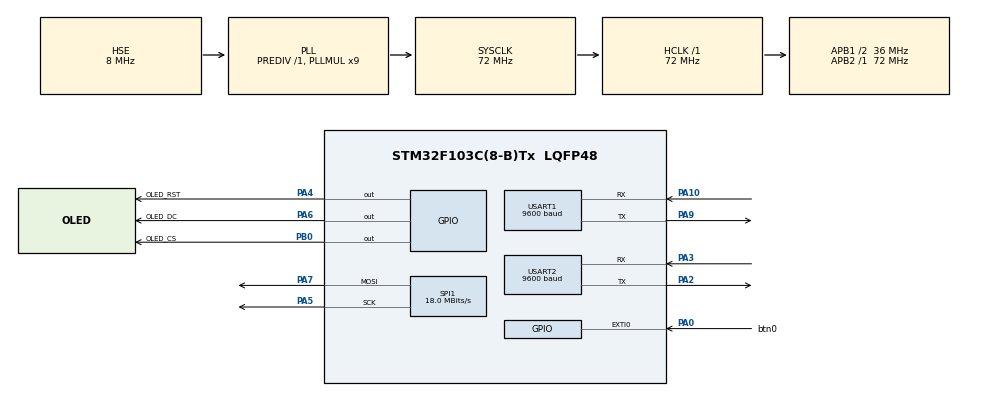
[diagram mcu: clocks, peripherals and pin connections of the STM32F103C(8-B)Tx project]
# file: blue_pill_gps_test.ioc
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Mcu.Family=STM32F1
Mcu.Name=STM32F103C(8-B)Tx
Mcu.Package=LQFP48
NVIC.EXTI0_IRQn=true\:0\:0\:false\:true\:true\:2\:true\:true\:true
NVIC.PriorityGroup=NVIC_PRIORITYGROUP_4
NVIC.USART2_IRQn=true\:0\:0\:false\:true\:true\:1\:true\:true\:true
PA0-WKUP.GPIO_Label=btn0
PA0-WKUP.GPIO_PuPd=GPIO_PULLUP
PA0-WKUP.Signal=GPXTI0
PA10.Mode=Asynchronous
PA10.Signal=USART1_RX
PA13.Mode=Serial_Wire
PA13.Signal=SYS_JTMS-SWDIO
PA14.Mode=Serial_Wire
PA14.Signal=SYS_JTCK-SWCLK
PA2.Mode=Asynchronous
PA2.Signal=USART2_TX
PA3.Mode=Asynchronous
PA3.Signal=USART2_RX
PA4.GPIO_Label=OLED_RST
PA4.GPIO_PuPd=GPIO_PULLUP
PA4.GPIO_Speed=GPIO_SPEED_FREQ_HIGH
PA4.PinState=GPIO_PIN_SET
PA4.Signal=GPIO_Output
PA5.Mode=TX_Only_Simplex_Unidirect_Master
PA5.Signal=SPI1_SCK
PA6.GPIO_Label=OLED_DC
PA6.GPIO_PuPd=GPIO_PULLUP
PA6.GPIO_Speed=GPIO_SPEED_FREQ_HIGH
PA6.PinState=GPIO_PIN_SET
PA6.Signal=GPIO_Output
PA7.Mode=TX_Only_Simplex_Unidirect_Master
PA7.Signal=SPI1_MOSI
PA9.Mode=Asynchronous
PA9.Signal=USART1_TX
PB0.GPIO_Label=OLED_CS
PB0.GPIO_PuPd=GPIO_PULLUP
PB0.GPIO_Speed=GPIO_SPEED_FREQ_HIGH
PB0.PinState=GPIO_PIN_SET
PB0.Signal=GPIO_Output
PD0-OSC_IN.Mode=HSE-External-Oscillator
PD0-OSC_IN.Signal=RCC_OSC_IN
PD1-OSC_OUT.Mode=HSE-External-Oscillator
PD1-OSC_OUT.Signal=RCC_OSC_OUT
ProjectManager.HeapSize=0x200
ProjectManager.StackSize=0x400
ProjectManager.TargetToolchain=STM32CubeIDE
RCC.AHBFreq_Value=72000000
RCC.APB1CLKDivider=RCC_HCLK_DIV2
RCC.APB1Freq_Value=36000000
RCC.APB1TimFreq_Value=72000000
RCC.APB2Freq_Value=72000000
RCC.APB2TimFreq_Value=72000000
RCC.HCLKFreq_Value=72000000
RCC.PLLMUL=RCC_PLL_MUL9
RCC.PLLSourceVirtual=RCC_PLLSOURCE_HSE
RCC.SYSCLKFreq_VALUE=72000000
RCC.SYSCLKSource=RCC_SYSCLKSOURCE_PLLCLK
RCC.USBFreq_Value=72000000
SPI1.BaudRatePrescaler=SPI_BAUDRATEPRESCALER_4
SPI1.CalculateBaudRate=18.0 MBits/s
SPI1.Direction=SPI_DIRECTION_2LINES
SPI1.Mode=SPI_MODE_MASTER
SPI1.VirtualType=VM_MASTER
USART1.BaudRate=9600
USART1.VirtualMode=VM_ASYNC
USART2.BaudRate=9600
USART2.VirtualMode=VM_ASYNC
board=custom

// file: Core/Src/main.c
/* USER CODE BEGIN Header */
/**
 ******************************************************************************
 * @file           : main.c
 * @brief          : Main program body
 ******************************************************************************
 * @attention
 *
 * Copyright (c) 2023 STMicroelectronics.
 * All rights reserved.
 *
 * This software is licensed under terms that can be found in the LICENSE file
 * in the root directory of this software component.
 * If no LICENSE file comes with this software, it is provided AS-IS.
 *
 ******************************************************************************
 */
/* USER CODE END Header */
#include "main.h"

/* USER CODE BEGIN Includes */
#include "stdio.h"
#include "stdlib.h"
#include "string.h"
#include "uart.h"
#include "u8g2.h"
#include "math.h"
#define pi 3.14159265358979323846

/* USER CODE END Includes */

SPI_HandleTypeDef hspi1;

UART_HandleTypeDef huart1;
UART_HandleTypeDef huart2;

/* USER CODE BEGIN PV */
extern ring_buffer_t uart_rx;

int btnFlag = 0;

/* USER CODE END PV */

void SystemClock_Config(void);
static void MX_GPIO_Init(void);
static void MX_USART1_UART_Init(void);
static void MX_USART2_UART_Init(void);
static void MX_SPI1_Init(void);
static void MX_NVIC_Init(void);

/* USER CODE BEGIN 0 */

int __io_putchar(int ch) {
	(void) HAL_UART_Transmit(&huart1, (uint8_t*) &ch, 1, 100);
	return ch;
}

double deg2rad(double deg) {
	return (deg * pi / 180);
}

double rad2deg(double rad) {
	return (rad * 180 / pi);
}

double calc_distance(double lat1, double lon1, double lat2, double lon2) {

	double radius = 6371.0;

	if ((lat1 == lat2) && (lon1 == lon2)) {
		return 0;
	} else {

		double dLat = deg2rad((lat2 - lat1)) / 2.0;
		double dLon = deg2rad((lon2 - lon1)) / 2.0;

		lat1 = deg2rad(lat1);
		lat2 = deg2rad(lat2);

		double a = sin(dLat) * sin(dLat)
				+ sin(dLon) * sin(dLon) * cos(lat1) * cos(lat2);
		double c = 2 * atan2f(sqrtf(a), sqrtf(1 - a));
		double dDistance = radius * c;

		dDistance *= 1000.0;

		return dDistance;
	}
	/*
	 double theta, dist;
	 if ((lat1 == lat2) && (lon1 == lon2)) {
	 return 0;
	 } else {
	 theta = lon1 - lon2;
	 dist = sin(deg2rad(lat1)) * sin(deg2rad(lat2))
	 + cos(deg2rad(lat1)) * cos(deg2rad(lat2)) * cos(deg2rad(theta));
	 dist = acos(dist);
	 dist = rad2deg(dist);
	 dist = dist * 60 * 1.1515;

	 dist = dist * 1.609344;
	 return (dist);
	 }
	 */

}

extern uint8_t u8x8_stm32_gpio_and_delay(u8x8_t *u8x8, uint8_t msg,
		uint8_t arg_int, void *arg_ptr);
extern uint8_t u8x8_byte_stm32_hw_spi(u8x8_t *u8x8, uint8_t msg,
		uint8_t arg_int, void *arg_ptr);

static u8g2_t u8g2;
/* USER CODE END 0 */

int main(void) {
	/* USER CODE BEGIN 1 */
	static double f_latitude1 = 0.0;
	static double f_longitude1 = 0.0;
	double f_latitude2 = 0.0;
	double f_longitude2 = 0.0;

	double distance = 0.0;
	static double pre_time = 0.0;
	double f_seconds = 0.0;
	double time_interval = 0.0;
	double speed = 0.0;
	double ground_speed = 0.0;

	char str_buff[32];
	char str_buff2[32];
	char str_buff3[32];
	char str_buff4[32];

	char buff[1024];
	char sentence[256];
	char type[16];
	char time[16];
	char valid[4];
	char latitude[16];
	char NS[4];
	char longitude[16];
	char EW[4];
	char groundSpeed[16];
	//char str8[18];
	/* USER CODE END 1 */

	/* MCU Configuration--------------------------------------------------------*/

	/* Reset of all peripherals, Initializes the Flash interface and the Systick. */
	HAL_Init();

	/* Configure the system clock */
	SystemClock_Config();

	/* Initialize all configured peripherals */
	MX_GPIO_Init();
	MX_USART1_UART_Init();
	MX_USART2_UART_Init();
	MX_SPI1_Init();

	/* Initialize interrupts */
	MX_NVIC_Init();
	/* USER CODE BEGIN 2 */
	u8g2_Setup_ssd1306_128x64_noname_f(&u8g2, U8G2_R0, u8x8_byte_stm32_hw_spi,
			u8x8_stm32_gpio_and_delay);

	u8g2_InitDisplay(&u8g2);
	u8g2_SetPowerSave(&u8g2, 0);

	//u8g2_SetFont(&u8g2, u8g2_font_5x7_tr);
	u8g2_SetFont(&u8g2, u8g2_font_6x13_mr);

	u8g2_SetDisplayRotation(&u8g2, U8G2_R2);

	/* Enable the UART Error Interrupt: (Frame error, noise error, overrun error) */
	__HAL_UART_ENABLE_IT(&huart2, UART_IT_ERR);
	/* Enable the UART Data Register not empty Interrupt */
	__HAL_UART_ENABLE_IT(&huart2, UART_IT_RXNE);
	rxBufferInit(&uart_rx);

	printf("this is MAIN code, not WHILE\r\n");

	sprintf(str_buff, "Hello :)");
	sprintf(str_buff2, "Push button,");
	sprintf(str_buff3, "Get speed.");
	u8g2_FirstPage(&u8g2);
	do {

		u8g2_DrawStr(&u8g2, 2, 15, str_buff);
		u8g2_DrawStr(&u8g2, 2, 30, str_buff2);
		u8g2_DrawStr(&u8g2, 2, 45, str_buff3);

	} while (u8g2_NextPage(&u8g2));

	memset(str_buff, 0, sizeof(str_buff));
	memset(str_buff, 0, sizeof(str_buff2));
	memset(str_buff, 0, sizeof(str_buff3));

	/* USER CODE END 2 */

	/* Infinite loop */
	/* USER CODE BEGIN WHILE */

	while (1) {

		sprintf(str_buff, "Speed: %.3f km/h", speed);
		sprintf(str_buff2, "Distance: %.3f m", distance);
		sprintf(str_buff3, "Time interval: %.2f s", time_interval);
		sprintf(str_buff4, "Gnd Speed: %.3f km/h", ground_speed);

		u8g2_FirstPage(&u8g2);
		do {

			u8g2_DrawStr(&u8g2, 2, 15, str_buff);
			u8g2_DrawStr(&u8g2, 2, 30, str_buff2);
			u8g2_DrawStr(&u8g2, 2, 45, str_buff3);
			u8g2_DrawStr(&u8g2, 2, 60, str_buff4);

		} while (u8g2_NextPage(&u8g2));

		memset(str_buff, 0, sizeof(str_buff));
		memset(str_buff, 0, sizeof(str_buff2));
		memset(str_buff, 0, sizeof(str_buff3));
		memset(str_buff, 0, sizeof(str_buff4));

		uint32_t tick = HAL_GetTick();
		while ((HAL_GetTick() - tick) < 500)
			;

		int n = 0;
		char *ptr;
		char *ptr1;

		uint8_t num = 0;
		num = uart_available(&uart_rx);
		for (int i = 0; i < num; i++) {
			int ch = pop(&uart_rx);
			if (ch != -1) {
				buff[i] = ch;
			}
		}

		int k = 0;
		ptr = buff;

		while (((*ptr) != '$') && (k < sizeof(buff))) {
			k++;
			ptr++;
		}

		if ((*ptr) == '$') {

			ptr1 = sentence;
			while (((*ptr) != '\n') && (k < sizeof(buff))) {
				memcpy(ptr1, ptr, 1);
				//HAL_UART_Transmit(&huart1,ptr1,1,500);
				ptr1++;
				ptr++;
				n++;
				k++;
			}
		}
		//	}
		memcpy(ptr1, "\0", 1);

		HAL_UART_Transmit(&huart1, (uint8_t*) sentence, sizeof(sentence), 500);
		HAL_UART_Transmit(&huart1, (uint8_t*) "\n", 1, 500);
		HAL_UART_Transmit(&huart1, (uint8_t*) "sentence\r\n", 11, 500);
		HAL_UART_Transmit(&huart1, (uint8_t*) "\r", 1, 500);
		HAL_UART_Transmit(&huart1, (uint8_t*) "\n", 1, 500);
		//printf("\r\n");

		if ((sentence[1] == 'G') && (sentence[2] == 'P')) {
			if (((sentence[3] == 'R') && (sentence[4] == 'M'))) {
				char *ptr2 = type;
				ptr1 = sentence;
				int n2 = 0;
				while ((*ptr1) != ',') {
					memcpy(ptr2, ptr1, 1);
					ptr2++;
					ptr1++;
					n2++;
				}

				memcpy(ptr2, "\0", 1);

				HAL_UART_Transmit(&huart1, (uint8_t*) type, n2 + 1, 500);

				HAL_UART_Transmit(&huart1, (uint8_t*) "\r", 1, 500);
				HAL_UART_Transmit(&huart1, (uint8_t*) "\n", 1, 500);

				ptr1++;

				char *ptr3 = time;

				int n3 = 0;
				while ((*ptr1) != ',') {
					memcpy(ptr3, ptr1, 1);

					ptr3++;
					ptr1++;
					n3++;
				}

				memcpy(ptr3, "\0", 1);

				if (n3 == 9) {
					char hour[5] = { 0, };
					char minute[5] = { 0, };
					char second[10] = { 0, };

					memcpy(hour, time, 2);
					memcpy(&hour[2], "\0", 1);

					memcpy(minute, &time[2], 2);
					memcpy(&minute[2], "\0", 1);

					memcpy(second, &time[4], 5);
					memcpy(&second[5], "\0", 1);

					f_seconds = (atof(hour) * 60.0 * 60.0)
							+ (atof(minute) * 60.0) + (atof(second));

					printf("pre_time : %.2f\r\n", pre_time);

					printf("f_seconds : %.2f\r\n", f_seconds);

					if (pre_time == 0) {
						time_interval = 0.0;
					} else {
						time_interval = f_seconds - pre_time;
					}

					printf("time_interval : %.2f\r\n", time_interval);

					pre_time = f_seconds;
				}

				HAL_UART_Transmit(&huart1, (uint8_t*) time, n3 + 1, 500);

				HAL_UART_Transmit(&huart1, (uint8_t*) "\r", 1, 500);
				HAL_UART_Transmit(&huart1, (uint8_t*) "\n", 1, 500);

				ptr1++;

				char *ptr4 = valid;

				int n4 = 0;
				while ((*ptr1) != ',') {
					memcpy(ptr4, ptr1, 1);
					ptr4++;
					ptr1++;
					n4++;
				}

				memcpy(ptr4, "\0", 1);

				HAL_UART_Transmit(&huart1, (uint8_t*) valid, n4 + 1, 500);

				printf("\r\n");

				ptr1++;

				char *ptr5 = latitude;

				int n5 = 0;
				while ((*ptr1) != ',') {
					memcpy(ptr5, ptr1, 1);

					ptr5++;
					ptr1++;
					n5++;
				}

				memcpy(ptr5, "\0", 1);

				if (n5 == 10) {
					double f_latitude = atof(latitude);
					if (f_latitude > 0) {
						int degree_latitude = ((int)f_latitude / 100);

						double minute_latitude = f_latitude
								- ((double)(degree_latitude) * 100.0);
						double minute2degree_latitude = minute_latitude
								/ 60.000;
						f_latitude2 = degree_latitude + minute2degree_latitude;

						printf("latitude: %.7f\r\n", f_latitude2);
					}
				}

				//HAL_UART_Transmit(&huart1, (uint8_t*)latitude, n5+1, 500);

				ptr1++;

				char *ptr6 = NS;

				int n6 = 0;
				while ((*ptr1) != ',') {
					memcpy(ptr6, ptr1, 1);
					ptr6++;
					ptr1++;
					n6++;
				}

				memcpy(ptr6, "\0", 1);

				HAL_UART_Transmit(&huart1, (uint8_t*) NS, n6 + 1, 500);

				printf("\r\n");
				ptr1++;

				char *ptr7 = longitude;

				int n7 = 0;
				while ((*ptr1) != ',') {
					memcpy(ptr7, ptr1, 1);
					ptr7++;
					ptr1++;
					n7++;
				}

				memcpy(ptr7, "\0", 1);

				if (n7 == 11) {
					double f_longitude = atof(longitude);
					if (f_longitude > 0) {
						int degree_longitude = ((int)f_longitude / 100);
						double minute_longitude = f_longitude
								- ((double)(degree_longitude) * 100.0);
						double minute2degree_longitude = minute_longitude
								/ 60.0;
						f_longitude2 = degree_longitude
								+ minute2degree_longitude;

						printf("longitude: %.7f\r\n", f_longitude2);
					}
				}

				//HAL_UART_Transmit(&huart1, (uint8_t*)longitude, n7+1, 500);

				ptr1++;

				char *ptr8 = EW;

				int n8 = 0;
				while ((*ptr1) != ',') {
					memcpy(ptr8, ptr1, 1);
					ptr8++;
					ptr1++;
					n8++;
				}

				memcpy(ptr8, "\0", 1);

				HAL_UART_Transmit(&huart1, (uint8_t*) EW, n8 + 1, 500);

				printf("\r\n");

				ptr1++;

				char *ptr9 = groundSpeed;

				int n9 = 0;
				while ((*ptr1) != ',') {
					memcpy(ptr9, ptr1, 1);

					ptr9++;
					ptr1++;
					n9++;
				}

				memcpy(ptr9, "\0", 1);

				if (n9 == 5) {
					ground_speed = (atof(groundSpeed)) * 1.852;
				}

				HAL_UART_Transmit(&huart1, (uint8_t*) groundSpeed, n9 + 1, 500);

				printf("\r\n");

				if ((f_latitude1 == 0) && (f_longitude1 == 0)) {
					f_latitude1 = f_latitude2;
					f_longitude1 = f_longitude2;
				}

				if (time_interval >= 0.500 && f_latitude1 > 0) {

					distance = calc_distance(f_latitude1, f_longitude1,
							f_latitude2, f_longitude2);

					printf("distance : %.7f\r\n", distance);

					f_latitude1 = f_latitude2;
					f_longitude1 = f_longitude2;
					if (distance == 0) {
						speed = 0.0;
					} else {
						speed = (distance * 0.001 * 3600.0) / time_interval;
					}

				}
				printf("speed : %.7f\r\n", speed);
				printf("ground_speed : %.7f\r\n", ground_speed);

			}

		}
		memset(sentence, 0, sizeof(sentence));

		memset(type, 0, sizeof(type));
		memset(time, 0, sizeof(time));
		memset(latitude, 0, sizeof(latitude));
		memset(NS, 0, sizeof(NS));
		memset(longitude, 0, sizeof(longitude));
		memset(EW, 0, sizeof(EW));
		memset(groundSpeed, 0, sizeof(groundSpeed));

//		}

		memset(buff, 0, sizeof(buff));

		/* USER CODE END WHILE */

	}
}

void SystemClock_Config(void) {
	RCC_OscInitTypeDef RCC_OscInitStruct = { 0 };
	RCC_ClkInitTypeDef RCC_ClkInitStruct = { 0 };

	/** Initializes the RCC Oscillators according to the specified parameters
	 * in the RCC_OscInitTypeDef structure.
	 */
	RCC_OscInitStruct.OscillatorType = RCC_OSCILLATORTYPE_HSE;
	RCC_OscInitStruct.HSEState = RCC_HSE_ON;
	RCC_OscInitStruct.HSEPredivValue = RCC_HSE_PREDIV_DIV1;
	RCC_OscInitStruct.HSIState = RCC_HSI_ON;
	RCC_OscInitStruct.PLL.PLLState = RCC_PLL_ON;
	RCC_OscInitStruct.PLL.PLLSource = RCC_PLLSOURCE_HSE;
	RCC_OscInitStruct.PLL.PLLMUL = RCC_PLL_MUL9;
	if (HAL_RCC_OscConfig(&RCC_OscInitStruct) != HAL_OK) {
		Error_Handler();
	}

	/** Initializes the CPU, AHB and APB buses clocks
	 */
	RCC_ClkInitStruct.ClockType = RCC_CLOCKTYPE_HCLK | RCC_CLOCKTYPE_SYSCLK
			| RCC_CLOCKTYPE_PCLK1 | RCC_CLOCKTYPE_PCLK2;
	RCC_ClkInitStruct.SYSCLKSource = RCC_SYSCLKSOURCE_PLLCLK;
	RCC_ClkInitStruct.AHBCLKDivider = RCC_SYSCLK_DIV1;
	RCC_ClkInitStruct.APB1CLKDivider = RCC_HCLK_DIV2;
	RCC_ClkInitStruct.APB2CLKDivider = RCC_HCLK_DIV1;

	if (HAL_RCC_ClockConfig(&RCC_ClkInitStruct, FLASH_LATENCY_2) != HAL_OK) {
		Error_Handler();
	}
}

/**
 * @brief NVIC Configuration.
 * @retval None
 */
static void MX_NVIC_Init(void) {
	/* USART2_IRQn interrupt configuration */
	HAL_NVIC_SetPriority(USART2_IRQn, 0, 0);
	HAL_NVIC_EnableIRQ(USART2_IRQn);
	/* EXTI0_IRQn interrupt configuration */
	HAL_NVIC_SetPriority(EXTI0_IRQn, 0, 0);
	HAL_NVIC_EnableIRQ(EXTI0_IRQn);
}

static void MX_SPI1_Init(void) {

	/* SPI1 parameter configuration*/
	hspi1.Instance = SPI1;
	hspi1.Init.Mode = SPI_MODE_MASTER;
	hspi1.Init.Direction = SPI_DIRECTION_2LINES;
	hspi1.Init.DataSize = SPI_DATASIZE_8BIT;
	hspi1.Init.CLKPolarity = SPI_POLARITY_LOW;
	hspi1.Init.CLKPhase = SPI_PHASE_1EDGE;
	hspi1.Init.NSS = SPI_NSS_SOFT;
	hspi1.Init.BaudRatePrescaler = SPI_BAUDRATEPRESCALER_4;
	hspi1.Init.FirstBit = SPI_FIRSTBIT_MSB;
	hspi1.Init.TIMode = SPI_TIMODE_DISABLE;
	hspi1.Init.CRCCalculation = SPI_CRCCALCULATION_DISABLE;
	hspi1.Init.CRCPolynomial = 10;
	if (HAL_SPI_Init(&hspi1) != HAL_OK) {
		Error_Handler();
	}

}

static void MX_USART1_UART_Init(void) {

	huart1.Instance = USART1;
	huart1.Init.BaudRate = 9600;
	huart1.Init.WordLength = UART_WORDLENGTH_8B;
	huart1.Init.StopBits = UART_STOPBITS_1;
	huart1.Init.Parity = UART_PARITY_NONE;
	huart1.Init.Mode = UART_MODE_TX_RX;
	huart1.Init.HwFlowCtl = UART_HWCONTROL_NONE;
	huart1.Init.OverSampling = UART_OVERSAMPLING_16;
	if (HAL_UART_Init(&huart1) != HAL_OK) {
		Error_Handler();
	}

}

static void MX_USART2_UART_Init(void) {

	huart2.Instance = USART2;
	huart2.Init.BaudRate = 9600;
	huart2.Init.WordLength = UART_WORDLENGTH_8B;
	huart2.Init.StopBits = UART_STOPBITS_1;
	huart2.Init.Parity = UART_PARITY_NONE;
	huart2.Init.Mode = UART_MODE_TX_RX;
	huart2.Init.HwFlowCtl = UART_HWCONTROL_NONE;
	huart2.Init.OverSampling = UART_OVERSAMPLING_16;
	if (HAL_UART_Init(&huart2) != HAL_OK) {
		Error_Handler();
	}

}

static void MX_GPIO_Init(void) {
	GPIO_InitTypeDef GPIO_InitStruct = { 0 };

	/* GPIO Ports Clock Enable */
	__HAL_RCC_GPIOD_CLK_ENABLE();
	__HAL_RCC_GPIOA_CLK_ENABLE();
	__HAL_RCC_GPIOB_CLK_ENABLE();

	/*Configure GPIO pin Output Level */
	HAL_GPIO_WritePin(GPIOA, OLED_RST_Pin | OLED_DC_Pin, GPIO_PIN_SET);

	/*Configure GPIO pin Output Level */
	HAL_GPIO_WritePin(OLED_CS_GPIO_Port, OLED_CS_Pin, GPIO_PIN_SET);

	/*Configure GPIO pin : btn0_Pin */
	GPIO_InitStruct.Pin = btn0_Pin;
	GPIO_InitStruct.Mode = GPIO_MODE_IT_RISING;
	GPIO_InitStruct.Pull = GPIO_PULLUP;
	HAL_GPIO_Init(btn0_GPIO_Port, &GPIO_InitStruct);

	/*Configure GPIO pins : OLED_RST_Pin OLED_DC_Pin */
	GPIO_InitStruct.Pin = OLED_RST_Pin | OLED_DC_Pin;
	GPIO_InitStruct.Mode = GPIO_MODE_OUTPUT_PP;
	GPIO_InitStruct.Pull = GPIO_PULLUP;
	GPIO_InitStruct.Speed = GPIO_SPEED_FREQ_HIGH;
	HAL_GPIO_Init(GPIOA, &GPIO_InitStruct);

	/*Configure GPIO pin : OLED_CS_Pin */
	GPIO_InitStruct.Pin = OLED_CS_Pin;
	GPIO_InitStruct.Mode = GPIO_MODE_OUTPUT_PP;
	GPIO_InitStruct.Pull = GPIO_PULLUP;
	GPIO_InitStruct.Speed = GPIO_SPEED_FREQ_HIGH;
	HAL_GPIO_Init(OLED_CS_GPIO_Port, &GPIO_InitStruct);

}

/* USER CODE BEGIN 4 */
void HAL_GPIO_EXTI_Callback(uint16_t GPIO_Pin) {
	if (GPIO_Pin == btn0_Pin) {
		if (btnFlag == 0) {
			btnFlag = 1;
		} else if (btnFlag == 1) {
			btnFlag = 0;
		}

	}
}
/* USER CODE END 4 */

void Error_Handler(void) {
	__disable_irq();
	while (1) {
	}
}
